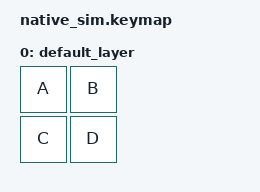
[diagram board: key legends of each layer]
/*
 * Test: require-prior-idle
 *
 * combo_x: positions <0 1> → X, require-prior-idle-ms = <150>
 *
 * First, type key 2 (C) to set last_tapped_timestamp.
 * Then quickly (within 150ms) press 0+1.  The combo should NOT fire because
 * the prior idle requirement is not met.  Keys A and B should appear instead.
 *
 * Sequence:
 *   press(2, 0ms), release(2, 50ms),     -- type C, sets last_tapped
 *   press(0, 30ms), press(1, 10ms),      -- 80ms since C press < 150ms idle
 *   release(0, 200ms), release(1, 10ms)  -- combo NOT fired, individual keys
 *
 * Expected: press C, release C, press A, press B, release A, release B
 */

#include <dt-bindings/zmk/keys.h>
#include <behaviors.dtsi>
#include <dt-bindings/zmk/kscan_mock.h>

/ {
    rolling_combos {
        compatible = "zmk,rolling-combos";
        combo_x {
            timeout-ms = <50>;
            key-positions = <0 1>;
            bindings = <&kp X>;
            require-prior-idle-ms = <150>;
        };
    };

    keymap {
        compatible = "zmk,keymap";
        default_layer {
            bindings = <
                &kp A &kp B
                &kp C &kp D
            >;
        };
    };
};

&kscan {
    events = <
        ZMK_MOCK_PRESS(1, 0, 0)
        ZMK_MOCK_RELEASE(1, 0, 50)
        ZMK_MOCK_PRESS(0, 0, 30)
        ZMK_MOCK_PRESS(0, 1, 10)
        ZMK_MOCK_RELEASE(0, 0, 200)
        ZMK_MOCK_RELEASE(0, 1, 10)
    >;
};
